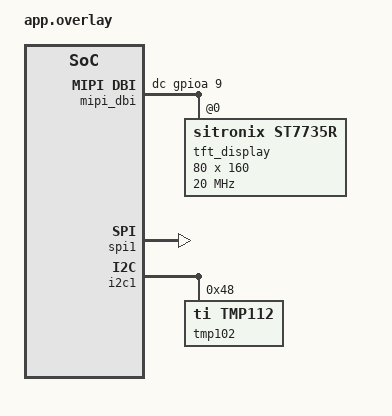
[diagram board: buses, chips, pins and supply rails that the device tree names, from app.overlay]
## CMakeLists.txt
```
cmake_minimum_required(VERSION 3.20.0)

find_package(Zephyr REQUIRED HINTS $ENV{ZEPHYR_BASE})
project(app_tmp_sensor)

add_library(temp_sensor STATIC src/temp_sensor.cpp)
add_library(lcd_display STATIC src/tft_display.cpp)


target_include_directories(temp_sensor PUBLIC ${CMAKE_CURRENT_SOURCE_DIR}/include)
target_include_directories(lcd_display PUBLIC ${CMAKE_CURRENT_SOURCE_DIR}/include)

target_link_libraries(temp_sensor PRIVATE ${PROJECT_NAME})
target_link_libraries(lcd_display PRIVATE ${PROJECT_NAME})

target_sources(app PRIVATE src/main.cpp)
```

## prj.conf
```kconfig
CONFIG_I2C=y
CONFIG_SENSOR=y
CONFIG_TMP112=y
CONFIG_MIPI_DBI=y
CONFIG_CBPRINTF_FP_SUPPORT=y

CONFIG_CPP=y
CONFIG_STD_CPP17=y
CONFIG_REQUIRES_FULL_LIBC=y
CONFIG_DISPLAY=y
CONFIG_ST7735R=y
```

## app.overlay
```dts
/ {
    chosen {
        zephyr,display = &tft_display;
    };

    mipi_dbi {
        compatible = "zephyr,mipi-dbi-spi";
        spi-dev = <&spi1>;

        dc-gpios = <&gpioa 9 GPIO_ACTIVE_HIGH>;

        #address-cells = <1>;
        #size-cells = <0>;

        tft_display: st7735r@0 {
            compatible = "sitronix,st7735r";
            reg = <0>;
            mipi-max-frequency = <20000000>;
            mipi-mode = "MIPI_DBI_MODE_SPI_4WIRE";

            width = <80>;
            height = <160>;
            x-offset = <26>;
            y-offset = <1>;

            madctl = <0x00>;
            colmod = <0x05>;

            inversion-on;
            rgb-is-inverted;

            caset = [ 00 00 00 4f  ];
            raset = [ 00 00 00 9f  ];
            invctr = <07>;
            pwctr1 = [ a2 02 84  ];
            pwctr2 = [ c5  ];
            pwctr3 = [ 0a 00  ];
            pwctr4 = [ 8a 2a  ];
            pwctr5 = [ 8a ee  ];
            vmctr1 = <0x0e>;
            frmctr1 = [ 01 2c 2d  ];
            frmctr2 = [ 01 2c 2d  ];
            frmctr3 = [ 01 2c 2d 01 2c 2d  ];
            gamctrp1 = [ 02 1c 07 12 37 32 29 2d 29 25 2b 39 00 01 03 10  ];
            gamctrn1 = [ 03 1d 07 06 2e 2c 29 2d 2e 2e 37 3f 00 00 02 10  ];
        };
    };
};

&spi1 {
    status = "okay";
    cs-gpios = <&gpiob 6 GPIO_ACTIVE_LOW>;
};

&i2c1 {
    status = "okay";

    tmp102: tmp102@48 {
        compatible = "ti,tmp112";
        reg = <0x48>;
    };
};
```

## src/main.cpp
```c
#include <zephyr/device.h>
#include <zephyr/drivers/sensor.h>
#include <zephyr/kernel.h>
#include <zephyr/sys/__assert.h>
#include <zephyr/sys/printk.h>

int main()
{
  const struct device *const dev = DEVICE_DT_GET(DT_NODELABEL(tmp102));

  if (!device_is_ready(dev))
  {
    printk("Sensor is not ready!\n");
    return 1;
  }

  int ret;
  struct sensor_value temp_value;
  struct sensor_value attr;

  attr.val1 = 1;
  attr.val2 = 0;
  ret = sensor_attr_set(dev, SENSOR_CHAN_AMBIENT_TEMP, SENSOR_ATTR_SAMPLING_FREQUENCY, &attr);

  if (ret)
  {
    printk("sensor_attr_set failed: %d\n", ret);
    return 1;
  }
  while (1)
  {
    sensor_sample_fetch(dev);
    sensor_channel_get(dev, SENSOR_CHAN_AMBIENT_TEMP, &temp_value);
    double temperature = sensor_value_to_double(&temp_value);
    printf("Actual temperature is : %.2f\n", temperature);
    k_msleep(1000);
  }

  return 0;
}
```

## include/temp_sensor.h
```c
#include <zephyr/kernel.h>
#include <zephyr/drivers/sensor.h>
```
